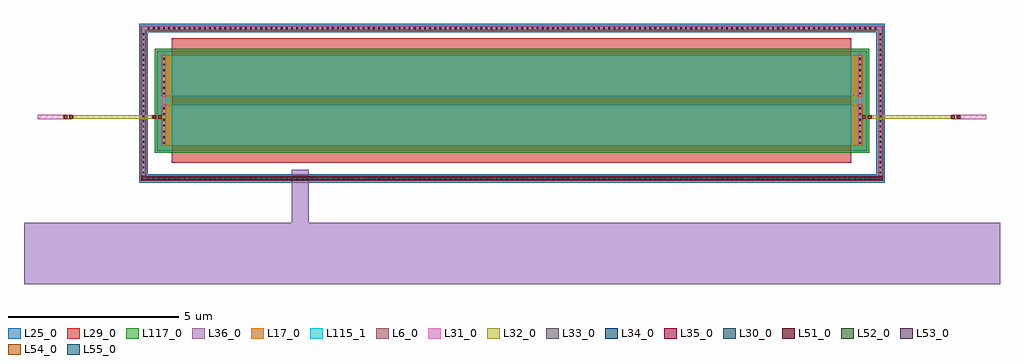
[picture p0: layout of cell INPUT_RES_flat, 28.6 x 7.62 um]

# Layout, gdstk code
import gdstk
lib = gdstk.Library(unit=1e-6, precision=1e-09)
def R(c, l, rs):  # rectangles x0, y0, x1, y1
    for r in rs: c.add(gdstk.rectangle(r[:2], r[2:], *l))
def A(c, l, x, y, w, h, nx, ny, dx, dy):  # array of equal rectangles
    R(c, l, [(x+i*dx, y+j*dy, x+i*dx+w, y+j*dy+h) for i in range(nx) for j in range(ny)])
L6_0 = (6, 0)
L17_0 = (17, 0)
L25_0 = (25, 0)
L29_0 = (29, 0)
L30_0 = (30, 0)
L31_0 = (31, 0)
L32_0 = (32, 0)
L33_0 = (33, 0)
L34_0 = (34, 0)
L35_0 = (35, 0)
L36_0 = (36, 0)
L51_0 = (51, 0)
L52_0 = (52, 0)
L53_0 = (53, 0)
L54_0 = (54, 0)
L55_0 = (55, 0)
L115_1 = (115, 1)
L117_0 = (117, 0)

input_res_flat = lib.new_cell('INPUT_RES_flat')
R(input_res_flat, L6_0, [(2.525,-1.075,2.675,-0.925), (2.675,-1.075,24.125,-0.925), (24.125,-1.075,24.275,-0.925), (2.525,-0.925,2.675,3.325), (24.125,-0.925,24.275,3.325), (2.525,3.325,2.675,3.475), (2.675,3.325,24.125,3.475), (24.125,3.325,24.275,3.475)])
R(input_res_flat, L17_0, [(3.125,-0.05,23.675,1.15), (3.125,1.4,23.675,2.6)])
R(input_res_flat, L25_0, [(2.475,-1.125,2.725,-0.875), (2.675,-1.125,24.125,-0.875), (24.075,-1.125,24.325,-0.875), (2.475,-0.925,2.725,3.325), (24.075,-0.925,24.325,3.325), (2.985,-0.19,23.815,2.74), (2.475,3.275,2.725,3.525), (2.675,3.275,24.125,3.525), (24.075,3.275,24.325,3.525)])
R(input_res_flat, L29_0, [(3.425,-0.55,23.345,3.1)])
A(input_res_flat, L30_0, 2.725, -1.025, 0.05, 0.05, 143, 2, 0.15, 4.4)
A(input_res_flat, L30_0, 2.575, -0.855, 0.05, 0.05, 1, 28, 0, 0.15)
A(input_res_flat, L30_0, 24.175, -0.855, 0.05, 0.05, 1, 28, 0, 0.15)
A(input_res_flat, L30_0, 3.175, 0.01, 0.05, 0.05, 1, 7, 0, 0.17)
A(input_res_flat, L30_0, 23.575, 0.01, 0.05, 0.05, 1, 7, 0, 0.17)
A(input_res_flat, L30_0, 3.175, 1.46, 0.05, 0.05, 1, 7, 0, 0.17)
A(input_res_flat, L30_0, 23.575, 1.46, 0.05, 0.05, 1, 7, 0, 0.17)
R(input_res_flat, L31_0, [(2.55,-1.05,2.65,-0.95), (2.65,-1.05,2.675,-0.95), (2.675,-1.05,24.125,-0.95), (24.125,-1.05,24.15,-0.95), (24.15,-1.05,24.25,-0.95), (2.55,-0.95,2.65,-0.925), (24.15,-0.95,24.25,-0.925), (2.55,-0.925,2.65,3.325), (24.15,-0.925,24.25,3.325), (3.15,-0.05,3.25,2.65), (3.15,-0.05,3.25,1.15), (3.15,-0.05,3.25,1.15), (23.55,-0.05,23.65,2.65), (23.55,-0.05,23.65,1.15), (23.55,-0.05,23.65,1.15), (-0.5,0.735,0.5,0.865), (26.3,0.735,27.3,0.865), (0.24,0.75,0.56,0.85), (2.84,0.75,3.16,0.85), (2.95,0.75,3.25,0.85), (23.55,0.75,23.85,0.85), (23.64,0.75,23.96,0.85), (26.24,0.75,26.56,0.85), (3.15,1.4,3.25,2.6), (3.15,1.4,3.25,2.6), (23.55,1.4,23.65,2.6), (23.55,1.4,23.65,2.6), (2.55,3.325,2.65,3.35), (24.15,3.325,24.25,3.35), (2.55,3.35,2.65,3.45), (2.65,3.35,2.675,3.45), (2.675,3.35,24.125,3.45), (24.125,3.35,24.15,3.45), (24.15,3.35,24.25,3.45)])
R(input_res_flat, L32_0, [(2.55,-1.05,2.65,-0.95), (2.65,-1.05,2.675,-0.95), (2.675,-1.05,24.125,-0.95), (24.125,-1.05,24.15,-0.95), (24.15,-1.05,24.25,-0.95), (2.55,-0.95,2.65,-0.925), (24.15,-0.95,24.25,-0.925), (0.24,0.75,0.56,0.85), (0.35,0.75,3.05,0.85), (2.84,0.75,3.16,0.85), (23.64,0.75,23.96,0.85), (23.75,0.75,26.45,0.85), (26.24,0.75,26.56,0.85)])
R(input_res_flat, L33_0, [(2.55,-1.05,2.65,-0.95), (2.65,-1.05,2.675,-0.95), (2.675,-1.05,24.125,-0.95), (24.125,-1.05,24.15,-0.95), (24.15,-1.05,24.25,-0.95), (2.55,-0.95,2.65,-0.925), (24.15,-0.95,24.25,-0.925)])
R(input_res_flat, L34_0, [(2.55,-1.05,2.65,-0.95), (2.65,-1.05,2.675,-0.95), (2.675,-1.05,24.125,-0.95), (24.125,-1.05,24.15,-0.95), (24.15,-1.05,24.25,-0.95), (2.55,-0.95,2.65,-0.925), (24.15,-0.95,24.25,-0.925)])
R(input_res_flat, L35_0, [(2.55,-1.05,2.65,-0.95), (2.65,-1.05,2.675,-0.95), (2.675,-1.05,24.125,-0.95), (24.125,-1.05,24.15,-0.95), (24.15,-1.05,24.25,-0.95), (2.55,-0.95,2.65,-0.925), (24.15,-0.95,24.25,-0.925)])
R(input_res_flat, L36_0, [(-0.9,-4.1,27.7,-2.3), (6.95,-2.65,7.45,-0.75), (2.55,-1.05,2.65,-0.95), (2.65,-1.05,2.675,-0.95), (2.675,-1.05,24.125,-0.95), (24.125,-1.05,24.15,-0.95), (24.15,-1.05,24.25,-0.95), (2.55,-0.95,2.65,-0.925), (24.15,-0.95,24.25,-0.925)])
A(input_res_flat, L51_0, 2.725, -1.025, 0.05, 0.05, 143, 1, 0.15, 0)
R(input_res_flat, L51_0, [(0.27,0.75,0.37,0.85), (0.43,0.75,0.53,0.85), (2.87,0.75,2.97,0.85), (3.03,0.75,3.13,0.85), (23.67,0.75,23.77,0.85), (23.83,0.75,23.93,0.85), (26.27,0.75,26.37,0.85), (26.43,0.75,26.53,0.85)])
A(input_res_flat, L52_0, 2.725, -1.025, 0.05, 0.05, 143, 1, 0.15, 0)
A(input_res_flat, L53_0, 2.725, -1.025, 0.05, 0.05, 143, 1, 0.15, 0)
A(input_res_flat, L54_0, 2.725, -1.025, 0.05, 0.05, 143, 1, 0.15, 0)
A(input_res_flat, L55_0, 2.725, -1.025, 0.05, 0.05, 143, 1, 0.15, 0)
R(input_res_flat, L115_1, [(3.425,-0.05,23.345,1.15), (3.425,1.4,23.345,2.6)])
R(input_res_flat, L117_0, [(2.925,-0.25,23.875,2.8)])

lib.write_gds('INPUT_RES_flat.gds')
